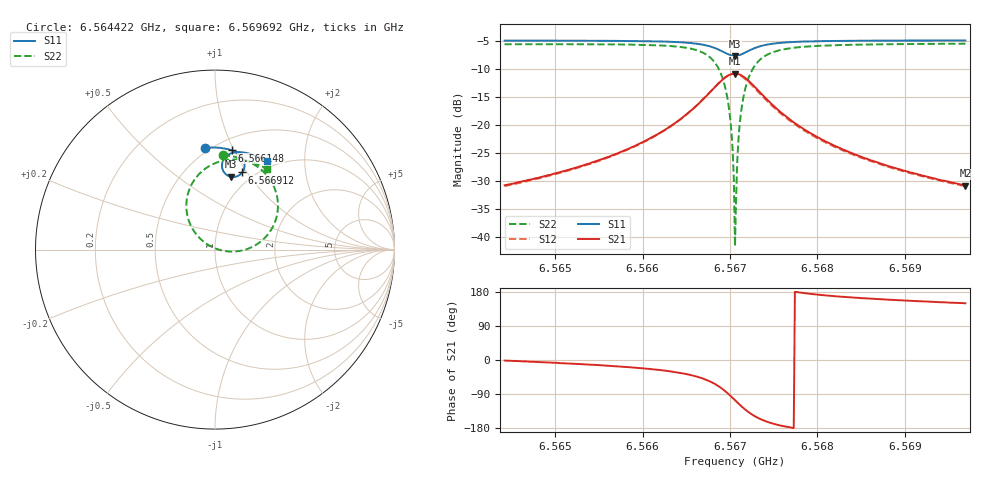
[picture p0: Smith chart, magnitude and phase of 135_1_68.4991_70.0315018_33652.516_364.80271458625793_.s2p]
#  HZ  S  RI  R  50.00
! Rohde & Schwarz Vector Network Analyzer
! Rohde-Schwarz,ZNB20-2Port,1311601062101988,3.16
! Created: UTC 3/20/2024, 4:54:37 PM
! freq[Hz]  re:S11  im:S11  re:S21  im:S21  re:S12  im:S12  re:S22  im:S22
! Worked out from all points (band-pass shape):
!   401 points, 6.564422 GHz to 6.569692 GHz, reference 50 ohm
!   highest |S21| = -10.78 dB at 6.567057 GHz (marker M1); lowest = -30.8 dB at 6.569692 GHz (marker M2)
!   |S21| within 3 dB of the highest: 6.566792 GHz to 6.567321 GHz (528.7 kHz wide, 0.00805 % of centre)
!   lowest |S11| = -7.6 dB at 6.567057 GHz (marker M3), VSWR 2.42, Z = 41.5 + j40.7 ohm
!   |S11| at or under -10 dB: nowhere
!   |S22| runs from -41.7 to -5.4 dB; largest |S21 - S12| = 0.014
!   S11 on the Smith chart (normalised r, x): 6.564422 GHz: 0.47, +0.79; 6.566148 GHz: 0.61, +0.98; 6.566912 GHz: 0.88, +0.95; 6.569692 GHz: 0.90, +1.32
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6.5644218e9  -0.0574 0.5665  0.029 -0.000688  0.0284 -0.00125  0.0443 0.5265
6.5653046e9  0.0155 0.5678  0.0424 -0.00818  0.0417 -0.00886  0.1296 0.512
6.5661478e9  0.0955 0.5527  0.0732 -0.0345  0.0721 -0.0353  0.2437 0.4567
6.5661873e9  0.0997 0.5509  0.0755 -0.0372  0.0745 -0.0381  0.2507 0.4511
6.5667011e9  0.1599 0.4959  0.1113 -0.1322  0.1086 -0.135  0.3499 0.266
6.5668197e9  0.1645 0.4624  0.1002 -0.1907  0.0951 -0.1946  0.3342 0.1539
6.5669119e9  0.1518 0.43  0.0604 -0.2466  0.0518 -0.2496  0.2616 0.0504
6.566991e9  0.1217 0.4082  -0.00771 -0.2808  -0.0198 -0.2797  0.1357 -0.00798
6.5670174e9  0.1086 0.4051  -0.0362 -0.2836  -0.0489 -0.2809  0.0843 -0.0111
6.5670305e9  0.1016 0.4048  -0.0508 -0.2832  -0.0635 -0.2793  0.0582 -0.00852
6.5670437e9  0.0945 0.4051  -0.0655 -0.2813  -0.078 -0.2762  0.0322 -0.00322
6.5670569e9  0.0876 0.4064  -0.0799 -0.2778  -0.0923 -0.2715  0.00693 0.0045
6.5670701e9  0.0808 0.4084  -0.0941 -0.273  -0.1059 -0.2656  -0.0174 0.015
6.5670832e9  0.0743 0.4109  -0.1075 -0.2669  -0.1187 -0.2584  -0.0401 0.0278
6.5671096e9  0.0626 0.4184  -0.1319 -0.2509  -0.1415 -0.2407  -0.0805 0.0591
6.5671359e9  0.0531 0.4278  -0.1519 -0.2315  -0.1597 -0.2202  -0.1127 0.0961
6.5671886e9  0.0414 0.4496  -0.178 -0.1875  -0.1819 -0.1757  -0.1508 0.1766
6.5672545e9  0.0392 0.4764  -0.1879 -0.1352  -0.188 -0.1244  -0.1585 0.2692
6.5675048e9  0.0771 0.5306  -0.1441 -0.0285  -0.1409 -0.0242  -0.0572 0.4488
6.5679396e9  0.14 0.5433  -0.0825 0.00868  -0.0804 0.00991  0.0815 0.501
6.5688224e9  0.2235 0.5236  -0.04 0.0154  -0.0391 0.0156  0.2122 0.4839
6.5696919e9  0.2885 0.4928  -0.0248 0.0145  -0.0244 0.0147  0.29 0.4487
